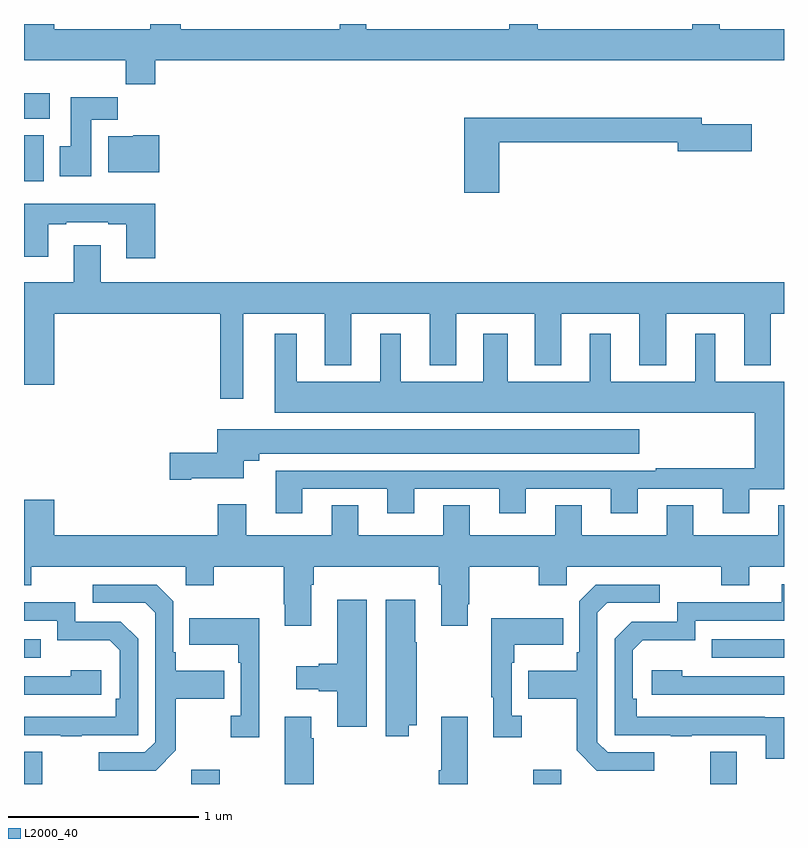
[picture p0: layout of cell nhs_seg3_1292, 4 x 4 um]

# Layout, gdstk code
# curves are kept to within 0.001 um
import gdstk
lib = gdstk.Library(unit=1e-6, precision=1e-09)
def R(c, l, rs):  # rectangles x0, y0, x1, y1
    for r in rs: c.add(gdstk.rectangle(r[:2], r[2:], *l))
def P(c, l, *ps):  # polygons
    for p in ps: c.add(gdstk.Polygon(p, *l))
L2000_40 = (2000, 40)

nhs_seg3_1292 = lib.new_cell('nhs_seg3_1292')
R(nhs_seg3_1292, L2000_40, [(177,738.4,177.097,738.571), (177.881,738.4,178.029,738.475), (179.68,738.4,179.827,738.475), (180.611,738.4,180.751,738.571), (177,739.065,177.089,739.161), (180.619,739.065,181,739.161), (177,741.572,177.103,741.814), (177,741.902,177.136,742.036)])
P(nhs_seg3_1292, L2000_40, [(177.692,742.208),(181,742.208),(181,742.372),(180.663,742.372),(180.663,742.4),(180.516,742.4),(180.516,742.372),(179.703,742.372),(179.703,742.4),(179.555,742.4),(179.555,742.372),(178.801,742.372),(178.801,742.4),(178.661,742.4),(178.661,742.372),(177.825,742.372),(177.825,742.4),(177.665,742.4),(177.665,742.372),(177.16,742.372),(177.16,742.4),(177,742.4),(177,742.208),(177.535,742.208),(177.535,742.084),(177.692,742.084)],
  [(177.355,741.896),(177.494,741.896),(177.494,742.015),(177.245,742.015),(177.245,741.756),(177.188,741.756),(177.188,741.6),(177.355,741.6)],
  [(179.501,741.778),(180.44,741.778),(180.44,741.731),(180.829,741.731),(180.829,741.873),(180.568,741.873),(180.568,741.907),(179.318,741.907),(179.318,741.513),(179.501,741.513)],
  [(177.712,741.814),(177.576,741.814),(177.576,741.808),(177.443,741.808),(177.443,741.62),(177.712,741.62)],
  [(177.692,741.454),(177,741.454),(177,741.176),(177.127,741.176),(177.127,741.345),(177.223,741.345),(177.223,741.357),(177.443,741.357),(177.443,741.345),(177.539,741.345),(177.539,741.168),(177.692,741.168)],
  [(178.153,740.876),(178.583,740.876),(178.583,740.603),(178.723,740.603),(178.723,740.876),(179.135,740.876),(179.135,740.603),(179.275,740.603),(179.275,740.876),(179.687,740.876),(179.687,740.603),(179.827,740.603),(179.827,740.876),(180.239,740.876),(180.239,740.603),(180.379,740.603),(180.379,740.876),(180.791,740.876),(180.791,740.603),(180.931,740.603),(180.931,740.876),(181,740.876),(181,741.04),(177.403,741.04),(177.403,741.235),(177.263,741.235),(177.263,741.04),(177,741.04),(177,740.502),(177.16,740.502),(177.16,740.876),(178.032,740.876),(178.032,740.427),(178.153,740.427)],
  [(178.465,739.953),(178.913,739.953),(178.913,739.824),(179.053,739.824),(179.053,739.953),(179.501,739.953),(179.501,739.824),(179.641,739.824),(179.641,739.953),(180.089,739.953),(180.089,739.824),(180.229,739.824),(180.229,739.953),(180.677,739.953),(180.677,739.824),(180.817,739.824),(180.817,739.952),(181,739.952),(181,740.518),(180.637,740.518),(180.637,740.77),(180.533,740.77),(180.533,740.518),(180.088,740.518),(180.088,740.77),(179.978,740.77),(179.978,740.518),(179.545,740.518),(179.545,740.77),(179.417,740.77),(179.417,740.518),(178.984,740.518),(178.984,740.77),(178.874,740.77),(178.874,740.518),(178.435,740.518),(178.435,740.77),(178.319,740.77),(178.319,740.354),(180.845,740.354),(180.845,740.062),(180.325,740.062),(180.325,740.049),(178.325,740.049),(178.325,739.824),(178.465,739.824)],
  [(177.88,740.009),(178.156,740.009),(178.156,740.102),(178.237,740.102),(178.237,740.138),(180.238,740.138),(180.238,740.266),(178.016,740.266),(178.016,740.144),(177.768,740.144),(177.768,740.002),(177.88,740.002)],
  [(178.513,739.448),(178.526,739.448),(178.526,739.544),(179.183,739.544),(179.183,739.448),(179.195,739.448),(179.195,739.233),(179.335,739.233),(179.335,739.345),(179.343,739.345),(179.343,739.544),(179.71,739.544),(179.71,739.445),(179.856,739.445),(179.856,739.544),(180.67,739.544),(180.67,739.445),(180.817,739.445),(180.817,739.544),(181,739.544),(181,739.867),(180.971,739.867),(180.971,739.708),(180.523,739.708),(180.523,739.868),(180.383,739.868),(180.383,739.708),(179.935,739.708),(179.935,739.868),(179.795,739.868),(179.795,739.708),(179.347,739.708),(179.347,739.868),(179.207,739.868),(179.207,739.708),(178.759,739.708),(178.759,739.868),(178.619,739.868),(178.619,739.708),(178.171,739.708),(178.171,739.873),(178.019,739.873),(178.019,739.708),(177.16,739.708),(177.16,739.897),(177,739.897),(177,739.445),(177.039,739.445),(177.039,739.544),(177.852,739.544),(177.852,739.445),(177.999,739.445),(177.999,739.544),(178.366,739.544),(178.366,739.345),(178.373,739.345),(178.373,739.233),(178.513,739.233)],
  [(181,738.752),(180.224,738.753),(180.224,738.85),(180.204,738.85),(180.204,739.104),(180.257,739.157),(180.534,739.157),(180.534,739.26),(181,739.26),(181,739.452),(180.989,739.452),(180.989,739.356),(180.438,739.356),(180.438,739.254),(180.198,739.254),(180.108,739.164),(180.108,738.657),(180.403,738.657),(180.403,738.652),(180.515,738.652),(180.515,738.657),(180.905,738.657),(180.905,738.534),(181,738.534)],
  [(180.316,738.567),(180.072,738.567),(180.018,738.621),(180.018,739.302),(180.069,739.353),(180.346,739.353),(180.346,739.449),(180.009,739.449),(179.922,739.362),(179.922,739.093),(179.91,739.093),(179.91,738.997),(179.653,738.997),(179.653,738.85),(179.91,738.85),(179.91,738.577),(180.015,738.471),(180.316,738.471)],
  [(177.799,738.577),(177.799,738.85),(178.055,738.85),(178.055,738.997),(177.799,738.997),(177.799,739.093),(177.786,739.093),(177.786,739.362),(177.699,739.449),(177.363,739.449),(177.363,739.353),(177.639,739.353),(177.69,739.302),(177.69,738.621),(177.636,738.567),(177.393,738.567),(177.393,738.471),(177.693,738.471)],
  [(178.804,739.369),(178.649,739.369),(178.649,739.034),(178.55,739.034),(178.55,739.021),(178.434,739.021),(178.434,738.899),(178.55,738.899),(178.55,738.887),(178.649,738.887),(178.649,738.702),(178.804,738.702)],
  [(179.026,738.71),(179.067,738.71),(179.067,739.145),(179.059,739.145),(179.059,739.369),(178.904,739.369),(178.904,738.651),(179.026,738.651)],
  [(177.305,738.657),(177.6,738.657),(177.6,739.164),(177.51,739.254),(177.27,739.254),(177.27,739.356),(177,739.356),(177,739.26),(177.174,739.26),(177.174,739.157),(177.451,739.157),(177.504,739.104),(177.504,738.85),(177.484,738.85),(177.484,738.753),(177,738.753),(177,738.657),(177.193,738.657),(177.193,738.652),(177.305,738.652)],
  [(178.238,739.273),(177.871,739.273),(177.871,739.133),(178.128,739.133),(178.128,739.037),(178.14,739.037),(178.14,738.758),(178.089,738.758),(178.089,738.645),(178.238,738.645)],
  [(179.62,738.758),(179.568,738.758),(179.568,739.037),(179.581,739.037),(179.581,739.133),(179.837,739.133),(179.837,739.273),(179.46,739.273),(179.46,738.857),(179.471,738.857),(179.471,738.645),(179.62,738.645)],
  [(181,738.966),(180.464,738.966),(180.464,739),(180.303,739),(180.303,738.87),(181,738.87)],
  [(177.406,739),(177.245,739),(177.245,738.966),(177,738.966),(177,738.87),(177.406,738.87)],
  [(178.526,738.641),(178.513,738.641),(178.513,738.754),(178.373,738.754),(178.373,738.4),(178.526,738.4)],
  [(179.335,738.754),(179.195,738.754),(179.195,738.472),(179.183,738.472),(179.183,738.4),(179.335,738.4)])

lib.write_gds('nhs_seg3_1292.gds')
